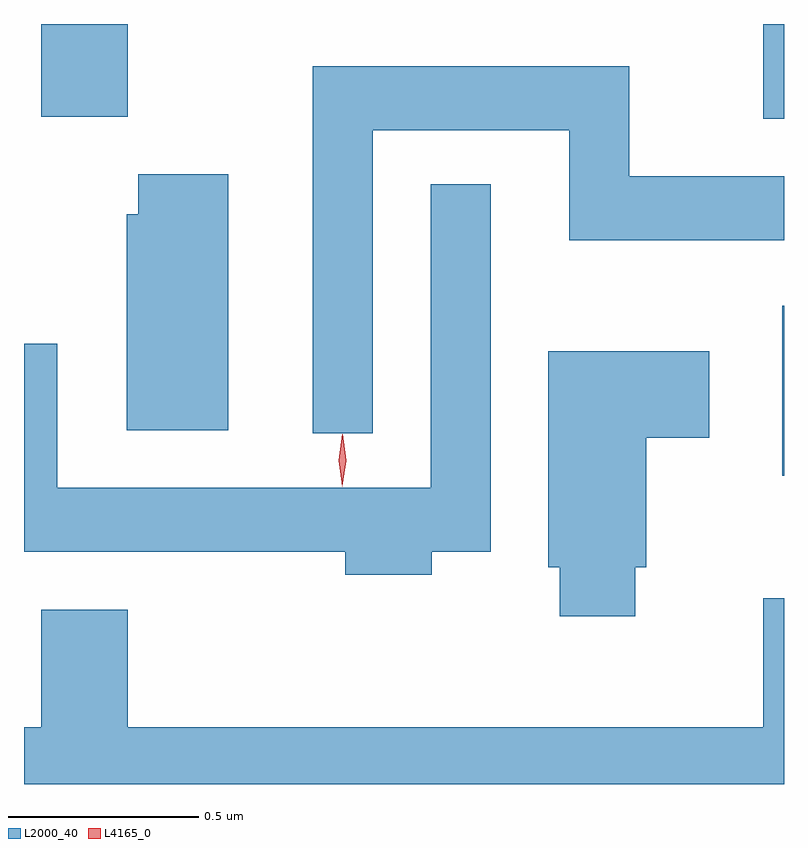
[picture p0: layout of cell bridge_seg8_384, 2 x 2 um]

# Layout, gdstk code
import gdstk
lib = gdstk.Library(unit=1e-6, precision=1e-09)
def R(c, l, rs):  # rectangles x0, y0, x1, y1
    for r in rs: c.add(gdstk.rectangle(r[:2], r[2:], *l))
def P(c, l, *ps):  # polygons
    for p in ps: c.add(gdstk.Polygon(p, *l))
L2000_40 = (2000, 40)
L4165_0 = (4165, 0)

bridge_seg8_384 = lib.new_cell('bridge_seg8_384')
R(bridge_seg8_384, L2000_40, [(688.001,1903.946,688.006,1904.394), (687.951,1904.886,688.006,1905.135), (686.051,1904.891,686.279,1905.135)])
P(bridge_seg8_384, L2000_40, [(686.924,1904.856),(687.441,1904.856),(687.441,1904.566),(688.006,1904.566),(688.006,1904.734),(687.599,1904.734),(687.599,1905.024),(686.766,1905.024),(686.766,1904.058),(686.924,1904.058)],
  [(686.544,1904.739),(686.306,1904.739),(686.306,1904.634),(686.276,1904.634),(686.276,1904.066),(686.544,1904.066)],
  [(687.079,1903.746),(687.234,1903.746),(687.234,1904.713),(687.076,1904.713),(687.076,1903.914),(686.094,1903.914),(686.094,1904.293),(686.006,1904.293),(686.006,1903.746),(686.851,1903.746),(686.851,1903.686),(687.079,1903.686)],
  [(687.614,1903.706),(687.644,1903.706),(687.644,1904.046),(687.809,1904.046),(687.809,1904.274),(687.386,1904.274),(687.386,1903.706),(687.416,1903.706),(687.416,1903.576),(687.614,1903.576)],
  [(688.006,1903.624),(687.951,1903.624),(687.951,1903.284),(686.279,1903.284),(686.279,1903.594),(686.051,1903.594),(686.051,1903.284),(686.006,1903.284),(686.006,1903.135),(688.006,1903.135)])
P(bridge_seg8_384, L4165_0, [(686.844,1903.917),(686.844,1903.918),(686.834,1903.987),(686.844,1904.056),(686.845,1904.056),(686.845,1904.056),(686.854,1903.987),(686.844,1903.918)],
  [(686.844,1903.919),(686.844,1903.92),(686.834,1903.986),(686.844,1904.052),(686.844,1904.053),(686.844,1904.052),(686.854,1903.986),(686.844,1903.92)])

lib.write_gds('bridge_seg8_384.gds')
